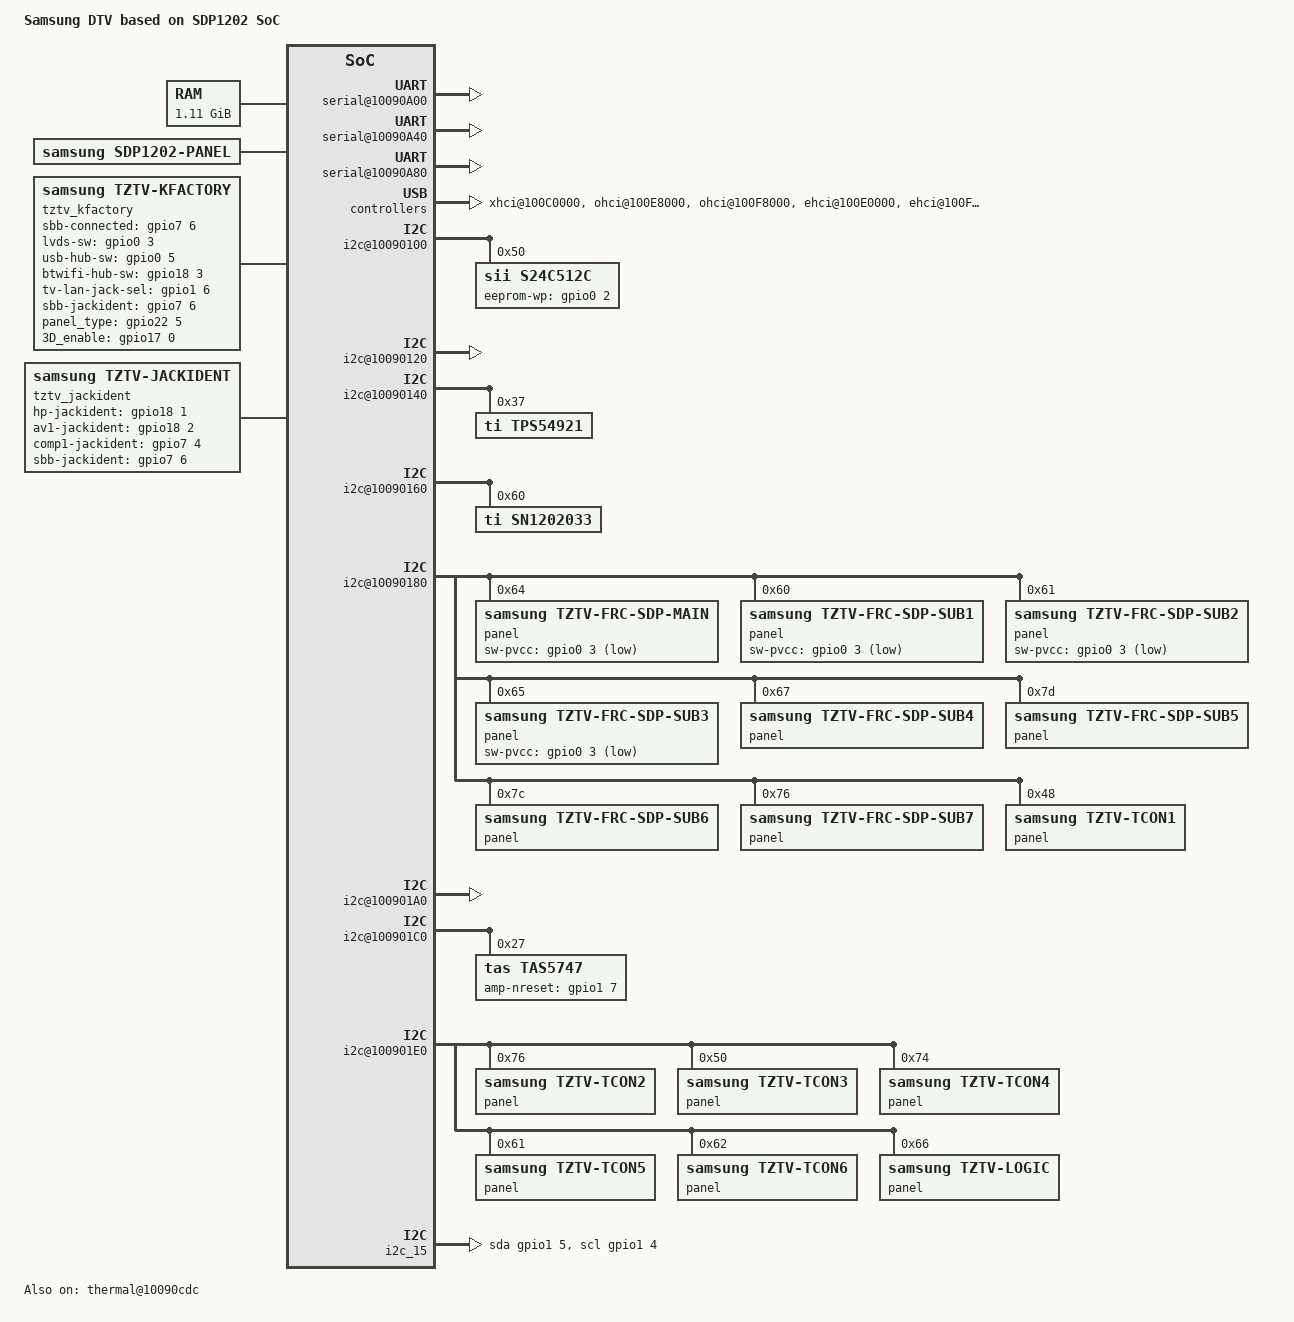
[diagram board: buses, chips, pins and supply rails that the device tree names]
/*
 * Copyright (C) 2014 Samsung Electronics Co.Ltd
 *
 * This program is free software; you can redistribute it and/or modify
 * it under the terms of the GNU General Public License version 2 as
 * published by the Free Software Foundation.
 */

/dts-v1/;
#include "sdp1202.dtsi"

/ {
	model = "Samsung DTV based on SDP1202 SoC";
	compatible = "samsung,sdp1202";

	memory {
		device_type = "memory";
		reg =  <0x50000000 0x47000000>;
	};

	/* BEWARE: DO_NOT_TOUCH___RESERVED_SPACE_50b _must_ be at the end of the
	 * cmdline, ALWAYS! This is the RULE!
	 *
	 * Violators will be shot!
	 * Survivors will be shot again!
	 * I am not kidding.
	 *                          -- roman.pen
	 */
	chosen {
		bootargs = __STR__(console=ttyS0,115200N8 root=/dev/mmcblk0p17 init=/sbin/init rootfstype=vdfs rw rootwait earlyprintk SELP_ENABLE=20102011 user_debug=31 vmalloc=550M DO_NOT_TOUCH___RESERVED_SPACE_50b);

		boot-modes = <&shift_s_mode>, <&normal_trace_mode>, <&shift_s_trace_mode>;
	};

	fixed-rate-clocks {
		fin {
			compatible = "samsung,sdp-clock-fin";
			clock-frequency = <24000000>;
		};
	};


	serial@10090A00 {
		status = "okay";
	};
	serial@10090A40 {
		status = "okay";
	};
	serial@10090A80 {
		compatible = "samsung,sdp1304-uart-micom";
		status = "okay";
	};

	pinctrl {
		compatible = "samsung,sdp-pinctrl";
		reg = <0x10090C00 0x300>;
		start-offset = <0xF4>;
		nr-banks = <23>;
	};
	
	xhci@100C0000 {
		status = "okay";
	};

	ohci@100E8000 {
		status = "okay";
	};

	ohci@100F8000 {
		status = "okay";
	};
	

	ehci@100E0000 {
		status = "okay";
	//	samsung,vbus-enable = <0x10090000 0xD48 0x00000030 0x02>;
	};

	ehci@100F0000 {
		status = "okay";
		//samsung,vbus-enable = <0x10090000 0xcb4 0x00000300 0x04>;
	};

	usben {
		status = "okay";
		samsung,usb-enable = <&gpio7 1 0>;
	};

	sdp_mmap {
		compatible = "samsung,sdp-mmap";

		samsung,vdsp = <0x0 0x42600000 0x5800000>;
		samsung,mhp-scaler = <0x0 0x48000000 0x100000>;
		
		samsung,chdec = <0x0 0xC0000000 0x200000>;
		samsung,mfc-a = <0x0 0xC0200000 0x4100000>;
		samsung,hen-a = <0x0 0xC4300000 0x700000>;
		samsung,mhp-base = <0x0 0xC4A00000 0x400000>;
		samsung,dp-cw-y = <0x0 0xC4E00000 0x200000>;
		samsung,se-external = <0x0 0xC5000000 0x80000>;
		samsung,dp1 = <0x0 0xC5080000 0x22C0000>;
		samsung,dp3 = <0x0 0x0 0xB80000>;
		samsung,dp-ttx-vbi = <0x0 0xC7340000 0x40000>;
		
		samsung,ae0 = <0x0 0xE0000000 0x1000000>;
		samsung,hen-b = <0x0 0xE1000000 0x880000>;
		samsung,dp-enc = <0x0 0xE1880000 0x440000>;
		samsung,tsd = <0x0 0xE1CC0000 0x200000>;
		samsung,mfc-b = <0x0 0xE1EC0000 0x1600000>;
		samsung,avd = <0x0 0xE34C0000 0x600000>;
		samsung,pvr = <0x0 0xE3AC0000 0x700000>;
		samsung,dp0 = <0x0 0xE41C0000 0x24C0000>;
		samsung,web = <0x0 0xE6680000 0x340000>;
		samsung,dp2 = <0x0 0xE69C0000 0xE40000>;
		samsung,mhp-y = <0x0 0xE7800000 0x400000>;
		samsung,dp-cw-c = <0x0 0xE7C00000 0x400000>;

	};

        panel: panel {
                compatible = "samsung,sdp1202-panel";

        };

        dummy_panel {
                compatible = "dummy_panel";

                panel = <&panel>;

                display-timings {
                        native-mode = <&timing0>;

                        timing0: timing-0 {
                                 clock-frequency = <0>;
                                 hactive = <1920>;
                                 vactive = <1080>;
                                 hfront-porch = <0>;
                                 hback-porch = <0>;
                                 hsync-len = <0>;
                                 vfront-porch = <0>;
                                 vback-porch = <0>;
                                 vsync-len = <0>;
                        };
                };
        };
	
	i2c@10090100 {
		status = "okay";
		samsung,i2c-sda-delay = <1>;
		samsung,i2c-max-bus-freq = <400000>;
		samsung,i2c-irq-status-reg = <0x100901F4>;
		samsung,i2c-cpu-affinity = <0>;
		   s24c512c@50 {
				compatible = "sii,s24c512c";
				reg = <0x50>;
				samsung,eeprom-wp = <&gpio0 2 0>;
           };
	};

	i2c@10090120 {
		status = "okay";
		samsung,i2c-sda-delay = <1>;
		samsung,i2c-max-bus-freq = <400000>;
		samsung,i2c-irq-status-reg = <0x100901F4>;
		samsung,i2c-cpu-affinity = <0>;
	};

	i2c@10090140 { 
		status = "okay";
		samsung,i2c-sda-delay = <1>;
		samsung,i2c-max-bus-freq = <400000>;
		samsung,i2c-irq-status-reg = <0x100901F4>;
		samsung,i2c-cpu-affinity = <0>;

		tps54921@37 {
			compatible = "ti,tps54921";
			reg = <0x37>;

			regulator-name = "CPU_PW";
			regulator-min-microvolt = <720000>;
			regulator-max-microvolt = <1480000>;
			regulator-always-on;
			regulator-boot-on;

			default_volt = <1130000>;
		};
	};

	i2c@10090160 {
		status = "okay";
		samsung,i2c-sda-delay = <1>;
		samsung,i2c-max-bus-freq = <400000>;
		samsung,i2c-irq-status-reg = <0x100901F4>;
		samsung,i2c-cpu-affinity = <0>;

		sn1202033@60 {
			compatible = "ti,sn1202033";
			reg = <0x60>;

			regulator-min-microvolt = <680000>;
			regulator-max-microvolt = <1950000>;
			regulator-always-on;
			regulator-boot-on;

			vout1-name = "MP0_PW";
			default_volt1 = <1100000>;

			vout2-name = "GPU_PW";
			default_volt2 = <1100000>;
		};
	};

	i2c@10090180 {
		status = "okay";
		samsung,i2c-sda-delay = <1>;
		samsung,i2c-max-bus-freq = <400000>;
		samsung,i2c-irq-status-reg = <0x100901F4>;
		samsung,i2c-cpu-affinity = <0>;

		/* panel C8 */
		panel@64 {
			compatible = "samsung,tztv-frc-sdp-main";
			samsung,sw-pvcc = <&gpio0 3 1>;
			reg = <0x64>;
		};

		/* panel C0 SUB */
		panel@60 {
			compatible = "samsung,tztv-frc-sdp-sub1";
			samsung,sw-pvcc = <&gpio0 3 1>;
			reg = <0x60>;
		};

		/* panel C2 SUB */
		panel@61 {
			compatible = "samsung,tztv-frc-sdp-sub2";
			samsung,sw-pvcc = <&gpio0 3 1>;
			 reg = <0x61>;
		};
		
		/* panel CA SUB*/
		panel@65{
			compatible = "samsung,tztv-frc-sdp-sub3";
			samsung,sw-pvcc = <&gpio0 3 1>;
			 reg = <0x65>;
		};

		/* panel CE SUB */
		panel@67 {
			compatible = "samsung,tztv-frc-sdp-sub4";
			reg = <0x67>;
		};

		/* panel FA SUB */
		panel@7D {
			compatible = "samsung,tztv-frc-sdp-sub5";
			reg = <0x7D>;
		};

		/* panel F8 SUB */
		panel@7C {
			compatible = "samsung,tztv-frc-sdp-sub6";
			reg = <0x7C>;
		};

		/* panel EC SUB */
		panel@76 {
			compatible = "samsung,tztv-frc-sdp-sub7";
			reg = <0x76>;
		};

		/* panel 0x90 */
		panel@48 {
			compatible = "samsung,tztv-tcon1";
			reg = <0x48>;
		};
	};

	i2c@100901A0 {
		status = "okay";
		samsung,i2c-sda-delay = <1>;
		samsung,i2c-max-bus-freq = <400000>;
		samsung,i2c-irq-status-reg = <0x100901F4>;
		samsung,i2c-cpu-affinity = <0>;
	};

	i2c@100901C0 { 
		status = "okay";
		samsung,i2c-sda-delay = <1>;
		samsung,i2c-max-bus-freq = <400000>;
		samsung,i2c-irq-status-reg = <0x100901F4>;
		samsung,i2c-cpu-affinity = <0>;
		
		tas5747@27 {
			compatible = "tas,tas5747";              
			samsung,amp-nreset = <&gpio1 7 0>;
			reg = <0x27>;
		};		
	};

	i2c@100901E0 {
		status = "okay";
		samsung,i2c-sda-delay = <1>;
		samsung,i2c-max-bus-freq = <400000>;
		samsung,i2c-irq-status-reg = <0x100901F4>;
		samsung,i2c-cpu-affinity = <0>;

		/* panel 0xEC */
		panel@76 {
			compatible = "samsung,tztv-tcon2";
			reg = <0x76>;
		};

		/* panel 0xA0 */
		panel@50 {
			compatible = "samsung,tztv-tcon3";
			reg = <0x50>;
		};

		/* panel 0xE8 */
		panel@74 {
			compatible = "samsung,tztv-tcon4";
			reg = <0x74>;
		};

		/* panel 0xC2 */
		panel@61 {
			compatible = "samsung,tztv-tcon5";
			reg = <0x61>;
		};

		/* panel 0xC4 */
		panel@62 {
			compatible = "samsung,tztv-tcon6";
			reg = <0x62>;
		};
		
		/* panel 0xCC */
		panel@66 {
			compatible = "samsung,tztv-logic";
			reg = <0x66>;
		};
	
	};

	tztv_kfactory {
		compatible = "samsung,tztv-kfactory";
		samsung,sbb-connected = <&gpio7 6 0>;
		samsung,lvds-sw = <&gpio0 3 0>;
		samsung,usb-hub-sw = <&gpio0 5 0>;
		samsung,btwifi-hub-sw = <&gpio18 3 0>;
		samsung,tv-lan-jack-sel = <&gpio1 6 0>;
		samsung,sbb-jackident = <&gpio7 6 0>;
		samsung,panel_type = <&gpio22 5 0>;
		samsung,3D_enable  = <&gpio17 0 0>;
		samsung,hv_flip    = <&gpio17 1 0>;
		samsung,echofs-nreset = <&gpio7 2 0>;
	};
	
	tztv_sbb-interface {
		samsung,sbb-detect = <&gpio7 6 0>;
	};
	
	tztv_tuner {
		compatible = "samsung,tztv-tuner";
	};
	
	tztv_ksocket {
		compatible = "samsung,ksocket";
	};	
	
	tztv_jackident {
	  compatible = "samsung,tztv-jackident";
	  samsung,hp-jackident = <&gpio18 1 0>;
	  samsung,av1-jackident = <&gpio18 2 0>;
	  samsung,comp1-jackident = <&gpio7 4 0>;
	  samsung,sbb-jackident = <&gpio7 6 0>;
	 };
	
	 i2c_15: i2c-dimming {
		status = "okay";
		compatible = "i2c-gpio";
		gpios = <&gpio1 5 0>, <&gpio1 4 0>; //sda, scl
		#address-cells = <1>;
		#size-cells = <0>;
		speed-hz = <4000000>;
	};
	
	thermal@10090cdc {
		status = "okay";
		compatible = "samsung,sdp-thermal";

		reg = <0x10090cdc 0x30>;

		sensor_id = <0>;

		start_cold_throttle	= <40>;
		stop_cold_throttle	= <45>;
		stop_1st_throttle	= <102>;
		start_1st_throttle	= <110>;
		stop_2nd_throttle	= <112>;
		start_2nd_throttle	= <118>;
		stop_3rd_throttle	= <120>;
		start_3rd_throttle	= <125>;
		//start_3rd_hotplug	= <130>;

		cpu_limit_1st_throttle	= <1000000>;
		cpu_limit_2nd_throttle	= <600000>;
		cpu_limit_3rd_throttle	= <100000>;

		gpu_limit_1st_throttle	= <200000>;
		gpu_limit_2nd_throttle	= <200000>;
		gpu_limit_3rd_throttle	= <200000>;

		log_file_path = "/tmp/ThermalThrottle.txt";
	};
};
